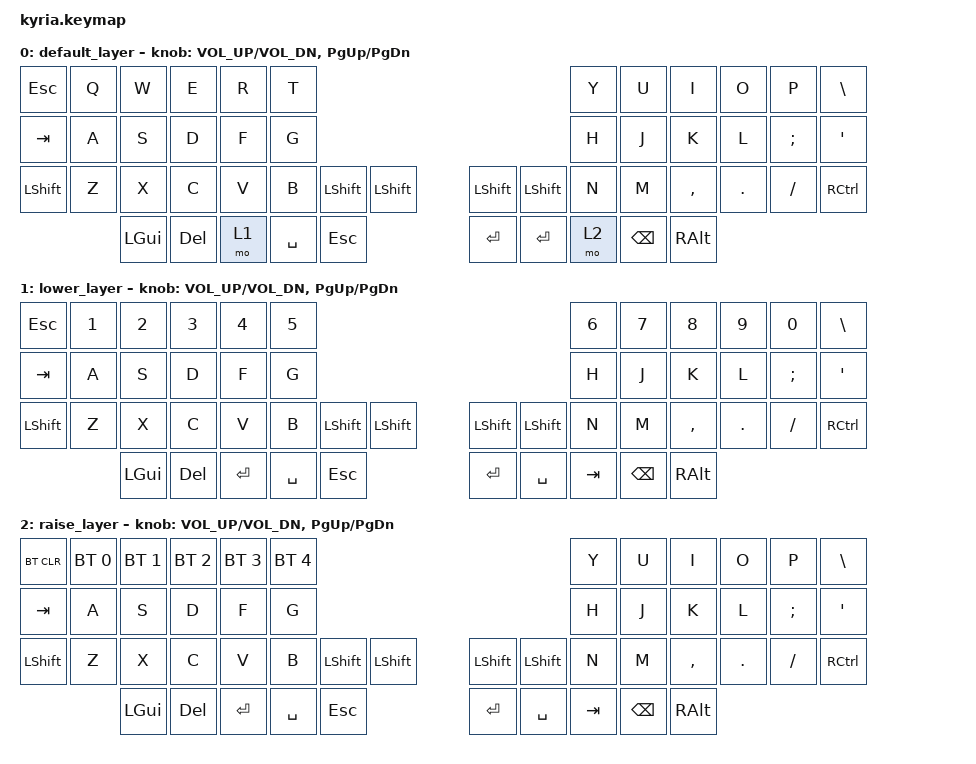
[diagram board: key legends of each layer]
/*
 * Copyright (c) 2020 The ZMK Contributors
 *
 * SPDX-License-Identifier: MIT
 */

#include <behaviors.dtsi>
#include <dt-bindings/zmk/keys.h>
#include <dt-bindings/zmk/bt.h>

/ {
	keymap {
		compatible = "zmk,keymap";

		default_layer {
// ---------------------------------------------------------------------------------------------------------------------------------
// |  ESC  |  Q  |  W  |  E   |  R   |  T   |                                          |  Y   |  U    |  I    |  O   |   P   |   \  |
// |  TAB  |  A  |  S  |  D   |  F   |  G   |                                          |  H   |  J    |  K    |  L   |   ;   |   '  |
// | SHIFT |  Z  |  X  |  C   |  V   |  B   | L SHIFT | L SHIFT |  | L SHIFT | L SHIFT |  N   |  M    |  ,    |  .   |   /   | CTRL |
//                     | GUI  | DEL  | RET  |  SPACE  |   ESC   |  |   RET   |  SPACE  | TAB  | BSPC  | R-ALT |
			bindings = <
	&kp ESC   &kp Q &kp W &kp E &kp R &kp T                                                &kp Y &kp U  &kp I     &kp O   &kp P    &kp BSLH
	&kp TAB   &kp A &kp S &kp D &kp F &kp G                                                &kp H &kp J  &kp K     &kp L   &kp SEMI &kp SQT
	&kp LSHFT &kp Z &kp X &kp C &kp V &kp B &kp LSHFT &kp LSHFT        &kp LSHFT &kp LSHFT &kp N &kp M  &kp COMMA &kp DOT &kp FSLH &kp RCTRL
	                 &kp LGUI &kp DEL &mo 1 &kp SPACE &kp ESC        &kp RET  &kp RET &mo 2 &kp BSPC &kp RALT
			>;

			sensor-bindings = <&inc_dec_kp C_VOL_UP C_VOL_DN &inc_dec_kp PG_UP PG_DN>;
		};
		lower_layer {
// ---------------------------------------------------------------------------------------------------------------------------------
// |  ESC  |  1  |  2  |  3   |  4   |  5   |                                          |  6   |  7    |  8    |  9   |   0   |   \  |
// |  TAB  |  A  |  S  |  D   |  F   |  G   |                                          |  H   |  J    |  K    |  L   |   ;   |   '  |
// | SHIFT |  Z  |  X  |  C   |  V   |  B   | L SHIFT | L SHIFT |  | L SHIFT | L SHIFT |  N   |  M    |  ,    |  .   |   /   | CTRL |
//                     | GUI  | DEL  | RET  |  SPACE  |   ESC   |  |   RET   |  SPACE  | TAB  | BSPC  | R-ALT |
			bindings = <
	&kp ESC   &kp N1 &kp N2 &kp N3 &kp N4 &kp N5                                                &kp N6 &kp N7  &kp N8     &kp N9   &kp N0    &kp BSLH
	&kp TAB   &kp A &kp S &kp D &kp F &kp G                                                &kp H &kp J  &kp K     &kp L   &kp SEMI &kp SQT
	&kp LSHFT &kp Z &kp X &kp C &kp V &kp B &kp LSHFT &kp LSHFT        &kp LSHFT &kp LSHFT &kp N &kp M  &kp COMMA &kp DOT &kp FSLH &kp RCTRL
	                 &kp LGUI &kp DEL &kp RET &kp SPACE &kp ESC        &kp RET  &kp SPACE  &kp TAB &kp BSPC &kp RALT
			>;

			sensor-bindings = <&inc_dec_kp C_VOL_UP C_VOL_DN &inc_dec_kp PG_UP PG_DN>;
		};
		raise_layer {
// ---------------------------------------------------------------------------------------------------------------------------------
// | BT_CLR| BT1 | BT2 | BT3  | BT4  | BT5  |                                          |  Y   |  U    |  I    |  O   |   P   |   \  |
// |  TAB  |  A  |  S  |  D   |  F   |  G   |                                          |  H   |  J    |  K    |  L   |   ;   |   '  |
// | SHIFT |  Z  |  X  |  C   |  V   |  B   | L SHIFT | L SHIFT |  | L SHIFT | L SHIFT |  N   |  M    |  ,    |  .   |   /   | CTRL |
//                     | GUI  | DEL  | RET  |  SPACE  |   ESC   |  |   RET   |  SPACE  | TAB  | BSPC  | R-ALT |
			bindings = <
	&bt BT_CLR &bt BT_SEL 0 &bt BT_SEL 1 &bt BT_SEL 2 &bt BT_SEL 3 &bt BT_SEL 4                                                &kp Y &kp U  &kp I     &kp O   &kp P    &kp BSLH
	&kp TAB   &kp A &kp S &kp D &kp F &kp G                                                &kp H &kp J  &kp K     &kp L   &kp SEMI &kp SQT
	&kp LSHFT &kp Z &kp X &kp C &kp V &kp B &kp LSHFT &kp LSHFT        &kp LSHFT &kp LSHFT &kp N &kp M  &kp COMMA &kp DOT &kp FSLH &kp RCTRL
	                 &kp LGUI &kp DEL &kp RET &kp SPACE &kp ESC        &kp RET  &kp SPACE  &kp TAB &kp BSPC &kp RALT
			>;

			sensor-bindings = <&inc_dec_kp C_VOL_UP C_VOL_DN &inc_dec_kp PG_UP PG_DN>;
		};
	};
};
